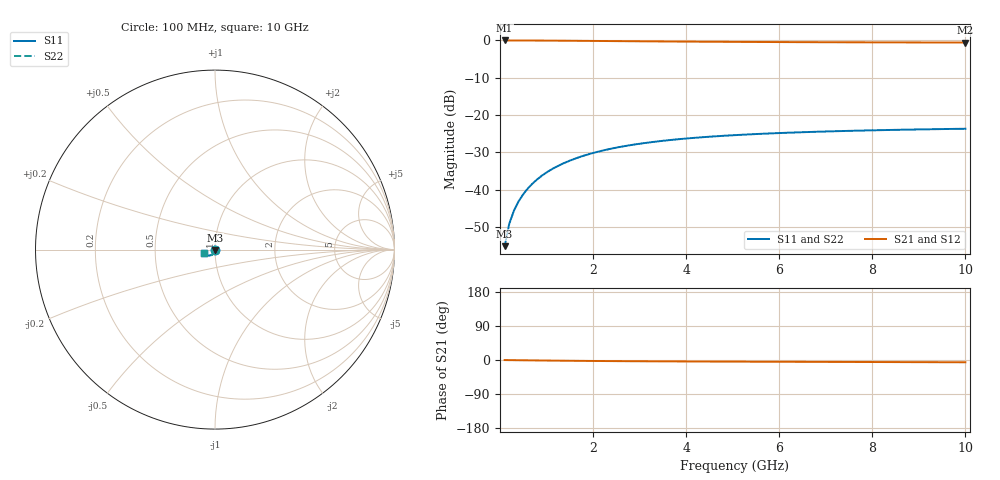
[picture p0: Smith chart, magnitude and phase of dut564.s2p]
! Touchstone file exported from HFSS 2024.1.0
!  File:  C:/UserFiles/LocalFiles/RDL_TSV_Batchsim/temp_TSV1_564_1779707621.aedt
!  Generated:  07:19:07 PM May 25, 2026
!  Design:  TSV1
!  Project:  temp_TSV1_564_1779707621
!  Setup:  Setup1
!  Solution:  Sweep
! Variables:
!  dtsv = 11.66um
!  hbump = 3um
!  htsv = 94.98um
!  lrdl = 252.1521522um
!  p = 40
!  p1 = 43.99um
!  t = 500um
!  trdl = 3um
!  wrdl = 24.89489489um
# GHz S MA R 50.000000
! Terminal data exported
! Port[1] = TSV22_T1
! Port[2] = TSV22_T2
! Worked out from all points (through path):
!   100 points, 100 MHz to 10 GHz, reference 50 ohm
!   highest |S21| = 0.00 dB at 100 MHz (marker M1); lowest = -0.6 dB at 10 GHz (marker M2)
!   lowest |S11| = -55.2 dB at 100 MHz (marker M3), VSWR 1.00, Z = 50 - j0.174 ohm
!   |S11| at or under -10 dB: start of sweep to end of sweep
!   |S22| runs from -55.2 to -23.7 dB; largest |S21 - S12| = 9.6e-15
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0.1  0.001743 -87.5  0.9998 -0.2  0.9998 -0.2  0.001743 -87.5
! Gamma 0 0 0 0
! Port Impedance 50 0 50 0
0.2  0.00348 -90.9  0.9997 -0.3  0.9997 -0.3  0.00348 -90.9
0.3  0.005218 -93.0  0.9994 -0.4  0.9994 -0.4  0.005218 -93.0
0.4  0.00695 -94.9  0.9991 -0.6  0.9991 -0.6  0.00695 -94.9
0.5  0.008671 -96.6  0.9986 -0.7  0.9986 -0.7  0.008671 -96.6
0.6  0.01038 -98.3  0.9981 -0.9  0.9981 -0.9  0.01038 -98.3
0.7  0.01206 -99.9  0.9975 -1.0  0.9975 -1.0  0.01206 -99.9
0.8  0.01372 -101.5  0.9969 -1.2  0.9969 -1.2  0.01372 -101.5
0.9  0.01535 -103.0  0.9962 -1.3  0.9962 -1.3  0.01535 -103.0
1.1  0.01852 -106.0  0.9945 -1.6  0.9945 -1.6  0.01852 -106.0
1.4  0.02302 -110.3  0.9917 -1.9  0.9917 -1.9  0.02302 -110.3
1.6  0.02582 -113.1  0.9897 -2.1  0.9897 -2.1  0.02582 -113.1
1.8  0.02847 -115.6  0.9875 -2.3  0.9875 -2.3  0.02847 -115.6
2.1  0.03215 -119.3  0.9842 -2.6  0.9842 -2.6  0.03215 -119.3
2.5  0.03651 -123.8  0.9798 -3.0  0.9798 -3.0  0.03651 -123.8
2.9  0.04032 -127.8  0.9755 -3.2  0.9755 -3.2  0.04032 -127.8
3.4  0.04437 -132.3  0.9704 -3.5  0.9704 -3.5  0.04437 -132.3
4.2  0.04955 -138.5  0.9633 -4.0  0.9633 -4.0  0.04955 -138.5
5.1  0.05395 -144.1  0.9567 -4.3  0.9567 -4.3  0.05396 -144.1
6.7  0.05936 -151.8  0.948 -4.9  0.948 -4.9  0.05936 -151.8
8.4  0.06308 -158.0  0.9417 -5.5  0.9417 -5.5  0.06308 -158.0
10  0.06546 -162.6  0.9375 -6.0  0.9375 -6.0  0.06546 -162.6
